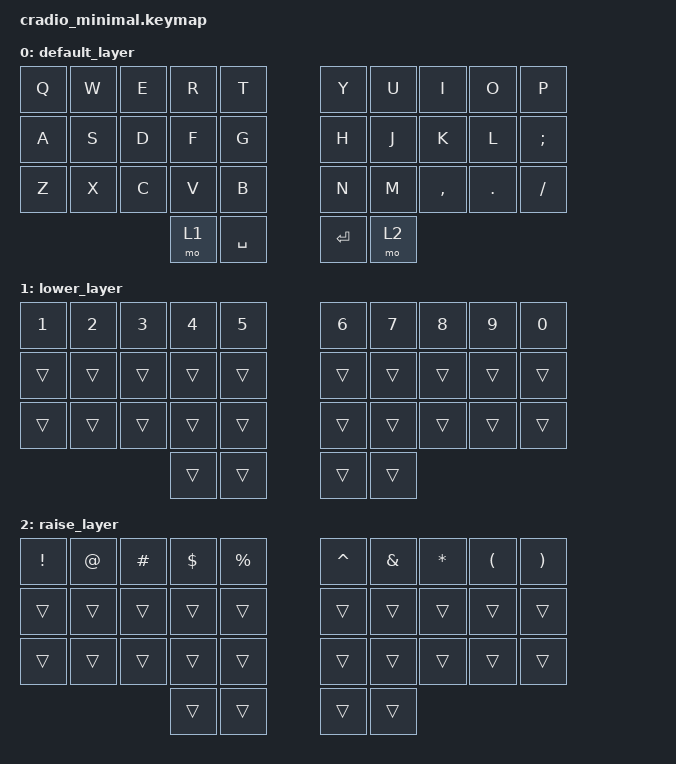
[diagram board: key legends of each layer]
// Minimal Cradio keymap for testing
#include <behaviors.dtsi>
#include <dt-bindings/zmk/keys.h>
#include <dt-bindings/zmk/bt.h>

/ {
    keymap {
        compatible = "zmk,keymap";

        default_layer {
            bindings = <
                &kp Q  &kp W  &kp E  &kp R  &kp T      &kp Y  &kp U  &kp I      &kp O    &kp P
                &kp A  &kp S  &kp D  &kp F  &kp G      &kp H  &kp J  &kp K      &kp L    &kp SEMI
                &kp Z  &kp X  &kp C  &kp V  &kp B      &kp N  &kp M  &kp COMMA  &kp DOT  &kp FSLH
                                     &mo 1  &kp SPACE  &kp RET  &mo 2
            >;
        };

        lower_layer {
            bindings = <
                &kp N1  &kp N2  &kp N3  &kp N4  &kp N5      &kp N6  &kp N7  &kp N8  &kp N9  &kp N0
                &trans  &trans  &trans  &trans  &trans      &trans  &trans  &trans  &trans  &trans
                &trans  &trans  &trans  &trans  &trans      &trans  &trans  &trans  &trans  &trans
                                        &trans  &trans      &trans  &trans
            >;
        };

        raise_layer {
            bindings = <
                &kp EXCL  &kp AT  &kp HASH  &kp DLLR  &kp PRCNT      &kp CARET  &kp AMPS  &kp STAR  &kp LPAR  &kp RPAR
                &trans    &trans  &trans    &trans    &trans         &trans     &trans    &trans    &trans    &trans
                &trans    &trans  &trans    &trans    &trans         &trans     &trans    &trans    &trans    &trans
                                            &trans    &trans         &trans     &trans
            >;
        };
    };
};
